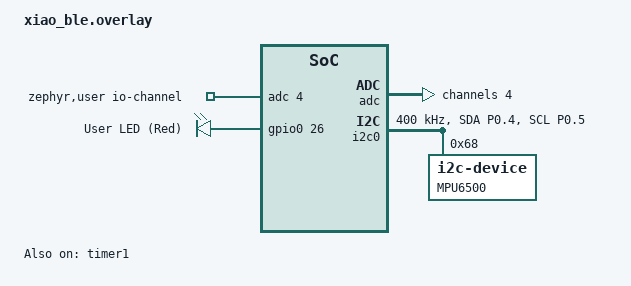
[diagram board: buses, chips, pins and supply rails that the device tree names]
/*
 * Copyright (c) 2026 BETTR. 
 * Author : Ajay Gautam
 */

/ {
    chosen {
        zephyr,console = &uart0;
        zephyr,shell-uart = &uart0;
    };

    aliases {
        led0 = &led_red;
        // led1 = &led_green;
        // exg0 = &exg_power_ctrl;
        // sw0 = &user_button;
        // emgadc = &adc_channel_0;
        // battadc = &adc_channel_4;
        spi-flash0 = &p25q16h;
    };
    // zephyr,user {
    //     emg-channel = <&adc_channel_0>;
    //     batt-channel = <&adc_channel_4>;
    // };
    zephyr,user {
        io-channels = <&adc 4>;
        // io-channels = <&adc 0>, <&adc 4>;
    };
    leds {
        compatible = "gpio-leds";
        led_red: led_0 {
            gpios = <&gpio0 26 GPIO_ACTIVE_HIGH>; //26
            label = "User LED (Red)";
        };
        // led_green: led_1 {
        //     gpios = <&gpio0 30 GPIO_ACTIVE_HIGH>;  //30
        //     label = "Green LED";
        // };
        // led_blue: led_2 {
        //     gpios = <&gpio0 6 GPIO_ACTIVE_HIGH>;
        //     label = "Blue LED";
        // };
    };
    
    outputs {
        compatible = "gpio-leds";
        
        // exg_power_ctrl: exg_power_ctrl {
        //     /* P0.03 configured as Active High */
        //     gpios = <&gpio0 3 GPIO_ACTIVE_HIGH>;
        //     label = "EXG Power Control";
        // };
    };
    
    // Add button definition
    // buttons {
    //     compatible = "gpio-keys";
    //     user_button: button_0 {
    //         // gpios = <&gpio1 15 GPIO_ACTIVE_LOW>;
    //         gpios = <&gpio1 15 (GPIO_ACTIVE_LOW | GPIO_PULL_UP)>;
    //         label = "User Button";
    //     };
    // };
};

&adc {
    status = "okay";
    #address-cells = <1>;
    #size-cells = <0>;
        /*
     * This is the critical fix. The nRF52840 SAADC is on IRQ line 7.
     * We are explicitly setting its priority to 5, which is a safe, low
     * priority that will not conflict with the Bluetooth stack.
     */
    // interrupts = <7 5>;
 
    // adc_channel_0: channel@0 {
    //     reg = <0>;
    //     zephyr,gain = "ADC_GAIN_1_6";
    //     zephyr,reference = "ADC_REF_INTERNAL"; /* Internal reference is 0.6V */
    //     // zephyr,gain = <ADC_GAIN_1_6>;
    //     // zephyr,reference = <ADC_REF_INTERNAL>; /* Internal reference is 0.6V */
    //     zephyr,acquisition-time = <ADC_ACQ_TIME_DEFAULT>;
    //     zephyr,input-positive = <NRF_SAADC_AIN0>; /* This is Pin P0.02 for EMG */
    //     zephyr,resolution = <12>;
    // };

    adc_channel_4: channel@4 {
        reg = <4>;
        zephyr,gain = "ADC_GAIN_1_6";
        zephyr,reference = "ADC_REF_INTERNAL"; /* Internal reference is 0.6V */
        // zephyr,gain = <ADC_GAIN_1_6>;
        // zephyr,reference = <ADC_REF_INTERNAL>; /* Internal reference is 0.6V */
        zephyr,acquisition-time = <ADC_ACQ_TIME_DEFAULT>;
        zephyr,input-positive = <NRF_SAADC_AIN4>; /* This is Pin P0.28 for Battery */
        zephyr,resolution = <12>;
    };
};
// &timer0 {
//     status = "okay";
// };
&timer1 {
    status = "okay";
};

&pinctrl {
    i2c0_default: i2c0_default {
        group1 {
            psels = <NRF_PSEL(TWIM_SDA, 0, 4)>,  /* P0.04 = D4 = SDA */
                    <NRF_PSEL(TWIM_SCL, 0, 5)>;   /* P0.05 = D5 = SCL */
        };
    };

    i2c0_sleep: i2c0_sleep {
        group1 {
            psels = <NRF_PSEL(TWIM_SDA, 0, 4)>,
                    <NRF_PSEL(TWIM_SCL, 0, 5)>;
            low-power-enable;
        };
    };
};

/* I2C0 for MPU6500 IMU sensor */
&i2c0 {
    compatible = "nordic,nrf-twim";
    status = "okay";
    clock-frequency = <I2C_BITRATE_FAST>; /* 400kHz */
    pinctrl-0 = <&i2c0_default>;
    pinctrl-1 = <&i2c0_sleep>;
    pinctrl-names = "default", "sleep";

    mpu6500: mpu6500@68 {
        compatible = "i2c-device";
        reg = <0x68>;
        label = "MPU6500";
    };
};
